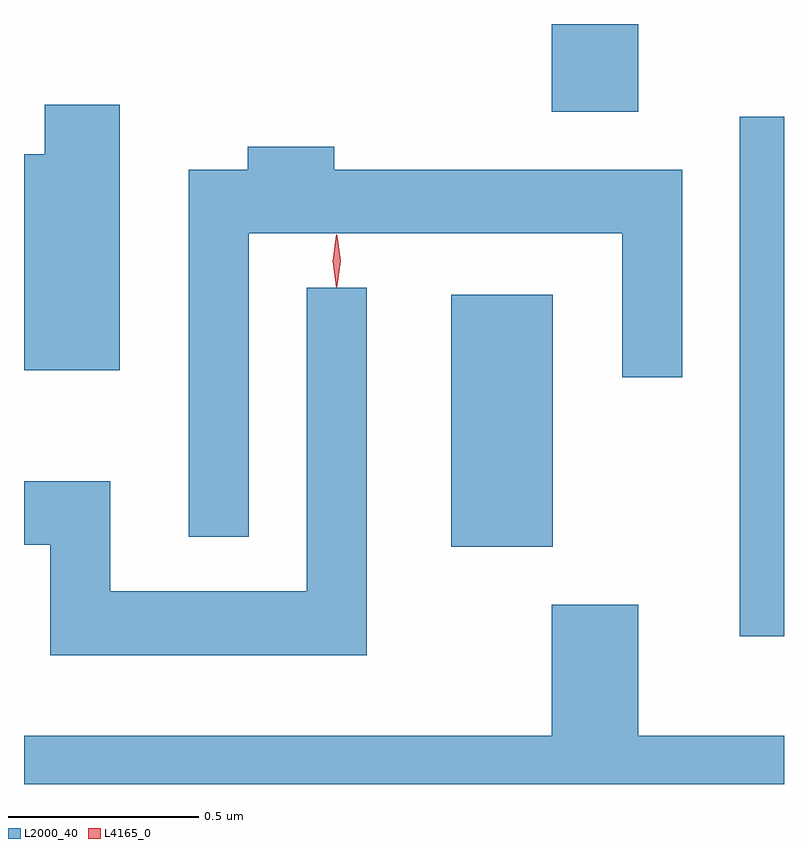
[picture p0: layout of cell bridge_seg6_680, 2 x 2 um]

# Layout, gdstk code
import gdstk
lib = gdstk.Library(unit=1e-6, precision=1e-09)
def R(c, l, rs):  # rectangles x0, y0, x1, y1
    for r in rs: c.add(gdstk.rectangle(r[:2], r[2:], *l))
def P(c, l, *ps):  # polygons
    for p in ps: c.add(gdstk.Polygon(p, *l))
L2000_40 = (2000, 40)
L4165_0 = (4165, 0)

bridge_seg6_680 = lib.new_cell('bridge_seg6_680')
R(bridge_seg6_680, L2000_40, [(311.106,1639.366,311.222,1640.733), (310.346,1639.601,310.614,1640.264), (310.611,1640.746,310.839,1640.977)])
P(bridge_seg6_680, L2000_40, [(309.474,1640.764),(309.276,1640.764),(309.276,1640.634),(309.222,1640.634),(309.222,1640.066),(309.474,1640.066)],
  [(309.814,1640.426),(310.796,1640.426),(310.796,1640.048),(310.954,1640.048),(310.954,1640.594),(310.039,1640.594),(310.039,1640.654),(309.811,1640.654),(309.811,1640.594),(309.656,1640.594),(309.656,1639.628),(309.814,1639.628)],
  [(310.124,1640.283),(309.966,1640.283),(309.966,1639.484),(309.449,1639.484),(309.449,1639.774),(309.222,1639.774),(309.222,1639.606),(309.291,1639.606),(309.291,1639.316),(310.124,1639.316)],
  [(311.222,1639.104),(310.839,1639.104),(310.839,1639.449),(310.611,1639.449),(310.611,1639.104),(309.222,1639.104),(309.222,1638.977),(311.222,1638.977)])
P(bridge_seg6_680, L4165_0, [(310.044,1640.284),(310.044,1640.284),(310.034,1640.353),(310.044,1640.423),(310.044,1640.423),(310.045,1640.423),(310.054,1640.353),(310.045,1640.284)],
  [(310.046,1640.287),(310.045,1640.288),(310.036,1640.354),(310.045,1640.42),(310.046,1640.421),(310.046,1640.42),(310.056,1640.354),(310.046,1640.288)])

lib.write_gds('bridge_seg6_680.gds')
